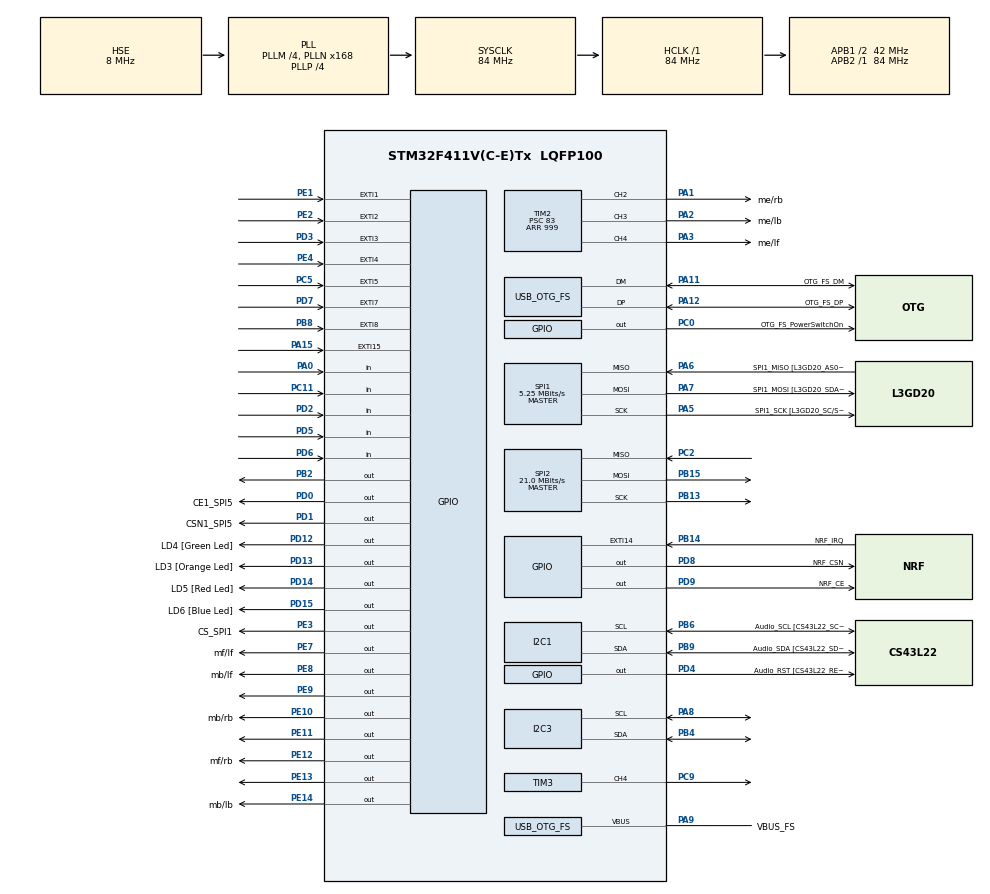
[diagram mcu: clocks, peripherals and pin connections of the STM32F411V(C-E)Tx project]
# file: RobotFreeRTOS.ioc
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FREERTOS.Tasks01=CalculatePoz,23,128,StartCalculatingPoz,Default,NULL,Dynamic,NULL,NULL;ReciveCommandsN,8,128,StartRecivingCommandsNRF24,Default,NULL,Dynamic,NULL,NULL;MotorControl,8,128,StartMotorControl,Default,NULL,Dynamic,NULL,NULL;calculatePath,22,128,StartCalculatingPath,Default,NULL,Dynamic,NULL,NULL
FREERTOS.configUSE_NEWLIB_REENTRANT=0
I2C1.I2C_Mode=I2C_Fast
Mcu.Family=STM32F4
Mcu.Name=STM32F411V(C-E)Tx
Mcu.Package=LQFP100
NVIC.EXTI15_10_IRQn=true\:5\:0\:false\:false\:true\:true\:true\:true
NVIC.EXTI1_IRQn=true\:5\:0\:false\:false\:true\:true\:true\:true
NVIC.EXTI2_IRQn=true\:5\:0\:false\:false\:true\:true\:true\:true
NVIC.EXTI3_IRQn=true\:5\:0\:false\:false\:true\:true\:true\:true
NVIC.EXTI4_IRQn=true\:5\:0\:false\:false\:true\:true\:true\:true
NVIC.EXTI9_5_IRQn=true\:5\:0\:false\:false\:true\:true\:true\:true
NVIC.I2C3_EV_IRQn=true\:5\:0\:false\:false\:true\:true\:true\:true
NVIC.OTG_FS_IRQn=true\:5\:0\:false\:false\:true\:true\:false\:true
NVIC.PriorityGroup=NVIC_PRIORITYGROUP_4
NVIC.TIM1_TRG_COM_TIM11_IRQn=true\:15\:0\:false\:false\:true\:false\:false\:true
NVIC.TIM2_IRQn=true\:5\:0\:false\:false\:true\:true\:true\:true
NVIC.TimeBase=TIM1_TRG_COM_TIM11_IRQn
NVIC.TimeBaseIP=TIM11
PA0-WKUP.Signal=GPIO_Input
PA1.GPIO_Label=me/rb
PA1.Signal=S_TIM2_CH2
PA10.Signal=USB_OTG_FS_ID
PA11.GPIO_Label=OTG_FS_DM
PA11.Mode=Device_Only
PA11.Signal=USB_OTG_FS_DM
PA12.GPIO_Label=OTG_FS_DP
PA12.Mode=Device_Only
PA12.Signal=USB_OTG_FS_DP
PA13.GPIO_Label=SWDIO
PA13.Mode=Serial_Wire
PA13.Signal=SYS_JTMS-SWDIO
PA14.GPIO_Label=SWCLK
PA14.Mode=Serial_Wire
PA14.Signal=SYS_JTCK-SWCLK
PA15.Signal=GPXTI15
PA2.GPIO_Label=me/lb
PA2.Signal=S_TIM2_CH3
PA3.GPIO_Label=me/lf
PA3.Signal=S_TIM2_CH4
PA4.GPIO_Label=I2S3_WS [CS43L22_LRCK]
PA4.GPIO_Mode=GPIO_MODE_AF_PP
PA4.GPIO_PuPd=GPIO_NOPULL
PA4.GPIO_Speed=GPIO_SPEED_FREQ_LOW
PA4.Signal=I2S3_WS
PA5.GPIO_Label=SPI1_SCK [L3GD20_SC/SPC]
PA5.Mode=Full_Duplex_Master
PA5.Signal=SPI1_SCK
PA6.GPIO_Label=SPI1_MISO [L3GD20_AS0/SDO]
PA6.Mode=Full_Duplex_Master
PA6.Signal=SPI1_MISO
PA7.GPIO_Label=SPI1_MOSI [L3GD20_SDA/SDI/SDO]
PA7.Mode=Full_Duplex_Master
PA7.Signal=SPI1_MOSI
PA8.Mode=I2C
PA8.Signal=I2C3_SCL
PA9.GPIO_Label=VBUS_FS
PA9.Mode=Activate_VBUS
PA9.Signal=USB_OTG_FS_VBUS
PB10.GPIO_Label=CLK_IN [MP45DT02_CLK]
PB10.Signal=I2S2_CK
PB12.Signal=I2S2_WS
PB13.Mode=Full_Duplex_Master
PB13.Signal=SPI2_SCK
PB14.GPIO_Label=NRF_IRQ
PB14.GPIO_ModeDefaultEXTI=GPIO_MODE_IT_FALLING
PB14.Signal=GPXTI14
PB15.Mode=Full_Duplex_Master
PB15.Signal=SPI2_MOSI
PB2.Signal=GPIO_Output
PB3.GPIO_Label=SWO
PB3.Signal=SYS_JTDO-SWO
PB4.Mode=I2C
PB4.Signal=I2C3_SDA
PB6.GPIO_Label=Audio_SCL [CS43L22_SCL]
PB6.GPIO_Mode=GPIO_MODE_AF_OD
PB6.GPIO_Pu=GPIO_PULLUP
PB6.GPIO_PuPd=GPIO_NOPULL
PB6.GPIO_Speed=GPIO_SPEED_FREQ_LOW
PB6.Mode=I2C
PB6.Signal=I2C1_SCL
PB8.Signal=GPXTI8
PB9.GPIO_Label=Audio_SDA [CS43L22_SDA]
PB9.GPIO_Mode=GPIO_MODE_AF_OD
PB9.GPIO_Pu=GPIO_PULLUP
PB9.GPIO_PuPd=GPIO_NOPULL
PB9.GPIO_Speed=GPIO_SPEED_FREQ_LOW
PB9.Mode=I2C
PB9.Signal=I2C1_SDA
PC0.GPIO_Label=OTG_FS_PowerSwitchOn
PC0.PinState=GPIO_PIN_SET
PC0.Signal=GPIO_Output
PC10.GPIO_Label=I2S3_SCK [CS43L22_SCLK]
PC10.GPIO_Mode=GPIO_MODE_AF_PP
PC10.GPIO_PuPd=GPIO_NOPULL
PC10.GPIO_Speed=GPIO_SPEED_FREQ_LOW
PC10.Signal=I2S3_CK
PC11.Signal=GPIO_Input
PC12.GPIO_Label=I2S3_SD [CS43L22_SDIN]
PC12.GPIO_Mode=GPIO_MODE_AF_PP
PC12.GPIO_PuPd=GPIO_NOPULL
PC12.GPIO_Speed=GPIO_SPEED_FREQ_LOW
PC12.Signal=I2S3_SD
PC14-OSC32_IN.GPIO_Label=PC14-OSC32_IN
PC14-OSC32_IN.Signal=RCC_OSC32_IN
PC15-OSC32_OUT.GPIO_Label=PC15-OSC32_OUT
PC15-OSC32_OUT.Signal=RCC_OSC32_OUT
PC2.Mode=Full_Duplex_Master
PC2.Signal=SPI2_MISO
PC3.GPIO_Label=PDM_OUT [MP45DT02_DOUT]
PC3.Signal=I2S2_SD
PC5.GPIO_ModeDefaultEXTI=GPIO_MODE_IT_FALLING
PC5.Signal=GPXTI5
PC7.GPIO_Label=I2S3_MCK [CS43L22_MCLK]
PC7.GPIO_Mode=GPIO_MODE_AF_PP
PC7.GPIO_PuPd=GPIO_NOPULL
PC7.GPIO_Speed=GPIO_SPEED_FREQ_LOW
PC7.Signal=I2S3_MCK
PC9.Signal=S_TIM3_CH4
PD0.GPIO_Label=CE1_SPI5
PD0.Signal=GPIO_Output
PD1.GPIO_Label=CSN1_SPI5
PD1.Signal=GPIO_Output
PD12.GPIO_Label=LD4 [Green Led]
PD12.GPIO_PuPd=GPIO_NOPULL
PD12.GPIO_Speed=GPIO_SPEED_FREQ_LOW
PD12.Signal=GPIO_Output
PD13.GPIO_Label=LD3 [Orange Led]
PD13.GPIO_PuPd=GPIO_NOPULL
PD13.GPIO_Speed=GPIO_SPEED_FREQ_LOW
PD13.Signal=GPIO_Output
PD14.GPIO_Label=LD5 [Red Led]
PD14.GPIO_PuPd=GPIO_NOPULL
PD14.GPIO_Speed=GPIO_SPEED_FREQ_LOW
PD14.Signal=GPIO_Output
PD15.GPIO_Label=LD6 [Blue Led]
PD15.GPIO_PuPd=GPIO_NOPULL
PD15.GPIO_Speed=GPIO_SPEED_FREQ_LOW
PD15.Signal=GPIO_Output
PD2.Signal=GPIO_Input
PD3.Signal=GPXTI3
PD4.GPIO_Label=Audio_RST [CS43L22_RESET]
PD4.Signal=GPIO_Output
PD5.Signal=GPIO_Input
PD6.Signal=GPIO_Input
PD7.Signal=GPXTI7
PD8.GPIO_Label=NRF_CSN
PD8.Signal=GPIO_Output
PD9.GPIO_Label=NRF_CE
PD9.Signal=GPIO_Output
PE1.Signal=GPXTI1
PE10.GPIO_Label=mb/rb
PE10.Signal=GPIO_Output
PE11.Signal=GPIO_Output
PE12.GPIO_Label=mf/rb
PE12.Signal=GPIO_Output
PE13.Signal=GPIO_Output
PE14.GPIO_Label=mb/lb
PE14.Signal=GPIO_Output
PE2.Signal=GPXTI2
PE3.GPIO_Label=CS_SPI1
PE3.GPIO_Speed=GPIO_SPEED_FREQ_HIGH
PE3.Signal=GPIO_Output
PE4.Signal=GPXTI4
PE7.GPIO_Label=mf/lf
PE7.Signal=GPIO_Output
PE8.GPIO_Label=mb/lf
PE8.Signal=GPIO_Output
PE9.Signal=GPIO_Output
PH0\ -\ OSC_IN.GPIO_Label=PH0-OSC_IN
PH0\ -\ OSC_IN.Mode=HSE-External-Oscillator
PH0\ -\ OSC_IN.Signal=RCC_OSC_IN
PH1\ -\ OSC_OUT.GPIO_Label=PH1-OSC_OUT
PH1\ -\ OSC_OUT.Mode=HSE-External-Oscillator
PH1\ -\ OSC_OUT.Signal=RCC_OSC_OUT
ProjectManager.HeapSize=0x200
ProjectManager.StackSize=0x400
ProjectManager.TargetToolchain=STM32CubeIDE
RCC.48MHZClocksFreq_Value=48000000
RCC.AHBFreq_Value=84000000
RCC.APB1CLKDivider=RCC_HCLK_DIV2
RCC.APB1Freq_Value=42000000
RCC.APB1TimFreq_Value=84000000
RCC.APB2Freq_Value=84000000
RCC.APB2TimFreq_Value=84000000
RCC.CortexFreq_Value=84000000
RCC.HCLKFreq_Value=84000000
RCC.HSE_VALUE=8000000
RCC.HSI_VALUE=16000000
RCC.LSE_VALUE=32768
RCC.PLLI2SM=5
RCC.PLLI2SN=200
RCC.PLLM=4
RCC.PLLN=168
RCC.PLLP=RCC_PLLP_DIV4
RCC.PLLQ=7
RCC.SYSCLKFreq_VALUE=84000000
RCC.SYSCLKSource=RCC_SYSCLKSOURCE_PLLCLK
RCC.VCOOutputFreq_Value=336000000
SH.S_TIM2_CH2.0=TIM2_CH2,PWM Generation2 CH2
SH.S_TIM2_CH3.0=TIM2_CH3,PWM Generation3 CH3
SH.S_TIM2_CH4.0=TIM2_CH4,PWM Generation4 CH4
SH.S_TIM3_CH4.0=TIM3_CH4,PWM Generation4 CH4
SPI1.BaudRatePrescaler=SPI_BAUDRATEPRESCALER_16
SPI1.CLKPhase=SPI_PHASE_2EDGE
SPI1.CalculateBaudRate=5.25 MBits/s
SPI1.Direction=SPI_DIRECTION_2LINES
SPI1.Mode=SPI_MODE_MASTER
SPI1.VirtualType=VM_MASTER
SPI2.CalculateBaudRate=21.0 MBits/s
SPI2.Direction=SPI_DIRECTION_2LINES
SPI2.Mode=SPI_MODE_MASTER
SPI2.VirtualType=VM_MASTER
TIM2.Channel-PWM\ Generation2\ CH2=TIM_CHANNEL_2
TIM2.Channel-PWM\ Generation3\ CH3=TIM_CHANNEL_3
TIM2.Channel-PWM\ Generation4\ CH4=TIM_CHANNEL_4
TIM2.Period=999
TIM2.Prescaler=83
TIM3.Channel-PWM\ Generation4\ CH4=TIM_CHANNEL_4
TIM3.Period=999
TIM3.Prescaler=84
TIM5.Prescaler=83
USB_DEVICE.CLASS_NAME_FS=CDC
USB_DEVICE.PRODUCT_STRING_CDC_FS=STM32roboRacer
USB_DEVICE.VirtualMode=Cdc
USB_DEVICE.VirtualModeFS=Cdc_FS
USB_OTG_FS.VirtualMode=Device_Only
VP_FREERTOS_VS_CMSIS_V2.Mode=CMSIS_V2
VP_SYS_VS_tim11.Mode=TIM11
VP_TIM2_VS_ClockSourceINT.Mode=Internal
VP_TIM3_VS_ClockSourceINT.Mode=Internal
VP_TIM5_VS_ClockSourceINT.Mode=Internal
VP_USB_DEVICE_VS_USB_DEVICE_CDC_FS.Mode=CDC_FS
board=STM32F411E-DISCO

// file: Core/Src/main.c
/* USER CODE BEGIN Header */
/**
  ******************************************************************************
  * @file           : main.c
  * @brief          : Main program body
  ******************************************************************************
  * @attention
  *
  * <h2><center>&copy; Copyright (c) 2021 STMicroelectronics.
  * All rights reserved.</center></h2>
  *
  * This software component is licensed by ST under BSD 3-Clause license,
  * the "License"; You may not use this file except in compliance with the
  * License. You may obtain a copy of the License at:
  *                        opensource.org/licenses/BSD-3-Clause
  *
  ******************************************************************************
  */
/* USER CODE END Header */
#include "main.h"
#include "cmsis_os.h"
#include "usb_device.h"
#include "usb_device.h"

/* USER CODE BEGIN Includes */
#include "stdint.h"
#include "robotPeriferija.h"
#include "nrf24.h"
#include "math.h"
#include "MadgwickAHRS.h"
#include "usbd_cdc_if.h"
/* USER CODE END Includes */

/* USER CODE BEGIN PTD */

void HAL_GPIO_EXTI_Callback(uint16_t GPIO_Pin); //external interupti
//void HAL_SPI_RxCpltCallback(SPI_HandleTypeDef *hspi);
//void HAL_SPI_TxCpltCallback(SPI_HandleTypeDef *hspi);
//void HAL_SPI_TxRxCpltCallback(SPI_HandleTypeDef *hspi);
void HAL_I2C_SlaveRxCpltCallback(I2C_HandleTypeDef *hi2c);
//void HAL_I2C_MasterTxCpltCallback(I2C_HandleTypeDef *hi2c)
/* USER CODE END PTD */

/* USER CODE BEGIN PD */
#define PID_CONTROL 1
#define PID_P 0.8f
#define PID_P_LIMIT 1.0f
#define PID_I 0.02f
#define PID_I_LIMIT 50.0f
#define PID_D 0.1f
#define PID_LIMIT 1.0f
#define SPEEDMOD 1.0f

#define PI 3.14159265358979323846f
#define DEG_TO_RAD 0.01745329252f

#define I2C_BUFFER_SIZE 100
/* USER CODE END PD */

/* USER CODE BEGIN PM */
#define scalePwm(p) ((int16_t)(p*1000))

/* USER CODE END PM */

I2C_HandleTypeDef hi2c1;
I2C_HandleTypeDef hi2c3;

SPI_HandleTypeDef hspi1;
SPI_HandleTypeDef hspi2;

TIM_HandleTypeDef htim2;
TIM_HandleTypeDef htim3;
TIM_HandleTypeDef htim5;

/* Definitions for CalculatePoz */
osThreadId_t CalculatePozHandle;
const osThreadAttr_t CalculatePoz_attributes = {
  .name = "CalculatePoz",
  .stack_size = 128 * 4,
  .priority = (osPriority_t) osPriorityBelowNormal7,
};
/* Definitions for ReciveCommandsN */
osThreadId_t ReciveCommandsNHandle;
const osThreadAttr_t ReciveCommandsN_attributes = {
  .name = "ReciveCommandsN",
  .stack_size = 128 * 4,
  .priority = (osPriority_t) osPriorityLow,
};
/* Definitions for MotorControl */
osThreadId_t MotorControlHandle;
const osThreadAttr_t MotorControl_attributes = {
  .name = "MotorControl",
  .stack_size = 128 * 4,
  .priority = (osPriority_t) osPriorityLow,
};
/* Definitions for calculatePath */
osThreadId_t calculatePathHandle;
const osThreadAttr_t calculatePath_attributes = {
  .name = "calculatePath",
  .stack_size = 128 * 4,
  .priority = (osPriority_t) osPriorityBelowNormal6,
};
/* USER CODE BEGIN PV */
nRF24_RXResult pipe;
volatile uint8_t nRF24_dataReady = 0;
volatile uint8_t nRF24_status = 0;
volatile int payload_length = 6;

volatile uint8_t GyroReady = 0;
volatile uint8_t AccReady = 0;
volatile uint8_t MagReady = 0;
volatile uint8_t sendData = 0;

volatile float Xold = 0.0f;
volatile float Yold = 0.0f;

volatile int32_t motorRFprevPoz=0;
volatile int32_t motorLFprevPoz=0;
volatile int32_t motorRBprevPoz=0;
volatile int32_t motorLBprevPoz=0;

volatile uint8_t I2CTxData[I2C_BUFFER_SIZE];
volatile uint8_t I2CRxData[I2C_BUFFER_SIZE];

volatile uint32_t timeSinceLastCommand = 0;
volatile uint8_t activateRasbetyPI = 0;

/* USER CODE END PV */

void SystemClock_Config(void);
static void MX_GPIO_Init(void);
static void MX_I2C1_Init(void);
static void MX_SPI1_Init(void);
static void MX_TIM2_Init(void);
static void MX_SPI2_Init(void);
static void MX_TIM5_Init(void);
static void MX_TIM3_Init(void);
static void MX_I2C3_Init(void);
void StartCalculatingPoz(void *argument);
void StartRecivingCommandsNRF24(void *argument);
void StartMotorControl(void *argument);
void StartCalculatingPath(void *argument);

/* USER CODE BEGIN 0 */
void nRF24SetChip(){
	nRF24_Init();

	nRF24_DisableAA(0xFF);
	nRF24_SetRFChannel(115);
	nRF24_SetDataRate(nRF24_DR_1Mbps);
	nRF24_SetCRCScheme(nRF24_CRC_off);
	nRF24_SetAddrWidth(3);

	static const uint8_t nRF24_ADDR[] = { 0xE7, 0x1C, 0xE3 };
	nRF24_SetAddr(nRF24_PIPE1, nRF24_ADDR); // program address for RX pipe #1
	nRF24_SetRXPipe(nRF24_PIPE1, nRF24_AA_OFF, payload_length); // Auto-ACK: disabled, payload length: 5 bytes
	nRF24_SetOperationalMode(nRF24_MODE_RX);
	nRF24_SetPowerMode(nRF24_PWR_UP);
	nRF24_CE_H();
}

void inicilizirajCipe(){
	__HAL_I2C_ENABLE(&hi2c1); //omogocimo I2C1 za komunikacijo z vgrajenimi cipi
	__HAL_SPI_ENABLE(&hspi1); //komunikacija gyro
	__HAL_SPI_ENABLE(&hspi2); //komunikacija z nRF24
	HAL_Delay(50);
	nRF24SetChip();
	nastaviPospeskometer();
	nastaviMagnetometer();
	nastaviGiroskop();
	//prvic preberi podatke da se generirajo interupti
	spi1_beriRegistre(0x28, (uint8_t*)&Gyro, 6);
	i2c1_beriRegistre(0x19, 0x28,(uint8_t*)&Acc, 6);
	i2c1_beriRegistre(0x1e, 0x68,(uint8_t*)&Mag, 6);
}

void normalize_v3f(float* x, float* y, float* z){
	float norm = sqrt( (*x) * (*x) + (*y) * (*y) + (*z) * (*z) );
	*x /= norm;
	*y /= norm;
	*z /= norm;
}

void speedControl(struct motorData* m, float deltaT){
	//premakni motor z zeljeno hitrostjo
	//izracunaj hitrost z tekocim povprecjem
	float vel = (float)((m->poz - m->prevPoz)/deltaT)/1000;
	m->prevPoz = m->poz;
	m->sum =  m->sum + vel - m->vals[m->index]; //pristejemo trenutno vrednost in odstejemo zadnjo
	m->vals[m->index] = vel; //na zadnjo zamenjamo z novo
	m->index++;
	if(m->index > 9){m->index = 0;}
	vel = m->sum/10; //izracunamo povprecje

	if(m->targetVel < 0.05 && m->targetVel > -0.05){
		m->targetVel = 0;
		m->integralError = 0;
	}

	if(PID_CONTROL == 1){
		m->error = (m->targetVel) - vel;
		if(m->error > PID_P_LIMIT){m->error=PID_P_LIMIT;}
		if(m->error < -PID_P_LIMIT){m->error=-PID_P_LIMIT;}

		m->integralError = m->integralError + m->error;
		if(m->integralError > PID_I_LIMIT){m->integralError = PID_I_LIMIT;}
		if(m->integralError < -PID_I_LIMIT){m->integralError = -PID_I_LIMIT;}

		float deltaE = 0.0f;
		if((m->error - m->prevError)>0.01f && (m->error - m->prevError)<-0.01f){deltaE=((m->error - m->prevError)/deltaT);}
		m->prevError = m->error;

		float power = PID_P*m->error + PID_I*m->integralError + PID_D*deltaE;
		if(power > PID_LIMIT){power = PID_LIMIT;}
		if(power < -PID_LIMIT){power = -PID_LIMIT;}
		nastaviMotor(m->num,zgladiMotor(m->num,scalePwm(power)));
	}
	else{
		int Pwm = zgladiMotor(m->num,scalePwm(m->targetVel));
		nastaviMotor(m->num,Pwm);
	}
}
/* USER CODE END 0 */

int main(void)
{

  /* MCU Configuration--------------------------------------------------------*/

  /* Reset of all peripherals, Initializes the Flash interface and the Systick. */
  HAL_Init();

  /* Configure the system clock */
  SystemClock_Config();

  /* Initialize all configured peripherals */
  MX_GPIO_Init();
  MX_I2C1_Init();
  MX_SPI1_Init();
  MX_TIM2_Init();
  MX_SPI2_Init();
  MX_TIM5_Init();
  MX_TIM3_Init();
  MX_I2C3_Init();
  /* USER CODE BEGIN 2 */
  //!--ce generator kode inicilizira DMA zadnje pomakni funkcijo visje da se incilizira prvo

  //iniciliziraj komunikacijo in senzorje
  HAL_Delay(100);
  inicilizirajCipe();
  nRF24_status = nRF24_Check();
  HAL_GPIO_WritePin(GPIOD, GPIO_PIN_12,nRF24_status); //ce dela prizgi ledico

  B1.flags = 0;
  B1.presedConf = 0;
  B1.relesedConf = 0;
  B1.port = GPIOA;
  B1.pin = GPIO_PIN_0;
  B1.debaunceCycles = 10;
  B1.presses = 0;

  HAL_TIM_Base_Start(&htim2);
  HAL_TIM_Base_Start(&htim3);
  HAL_TIM_Base_Start(&htim5);
  // zazenemo PWM
  HAL_TIM_PWM_Start(&htim3, TIM_CHANNEL_4);
  HAL_TIM_PWM_Start(&htim2, TIM_CHANNEL_2);
  HAL_TIM_PWM_Start(&htim2, TIM_CHANNEL_3);
  HAL_TIM_PWM_Start(&htim2, TIM_CHANNEL_4);

  robotPay.x1 = 0; //nastavimo na srednje vrednosti
  robotPay.x2 = 0;
  robotPay.y1 = 0;
  robotPay.y2 = 0;
  robotPay.speed = 100;

  nastaviMotor(RF,0);
  nastaviMotor(LF,0);
  nastaviMotor(LB,0);
  nastaviMotor(RB,0);

  motorLF.num = LF;
  motorLB.num = LB;
  motorRB.num = RB;
  motorRF.num = RF;

  E.Accx = 0;
  E.Accy = 0;
  E.Accz = 0;
  E.Gyrox = 0;
  E.Gyroy = 0;
  E.Gyroz = 0;
  E.HardIronMagx = 0;
  E.HardIronMagy = 0;
  E.HardIronMagz = 0;
  E.SoftIronMagx = 1;
  E.SoftIronMagy = 1;
  E.SoftIronMagz = 1;

  P.pozX = 0;
  P.pozY = 0;

  getDrift();

  __HAL_I2C_ENABLE(&hi2c3);
  HAL_Delay(100);
  activateRasbetyPI = 1;

  //HAL_SPI_Receive_DMA(&hspi5, (uint8_t*)&rasberyReq, rasberyReqSize);
  //HAL_SPI_TransmitReceive_DMA(&hspi5, SpiTxData, SpiRxData, SPI_BUFFER_SIZE);
  //HAL_SPI_TransmitReceive_DMA(&hspi5, SpiTxData, SpiRxData, 2); //beremo po dva
  /* USER CODE END 2 */

  /* Init scheduler */
  osKernelInitialize();

  /* Create the thread(s) */
  /* creation of CalculatePoz */
  CalculatePozHandle = osThreadNew(StartCalculatingPoz, NULL, &CalculatePoz_attributes);

  /* creation of ReciveCommandsN */
  ReciveCommandsNHandle = osThreadNew(StartRecivingCommandsNRF24, NULL, &ReciveCommandsN_attributes);

  /* creation of MotorControl */
  MotorControlHandle = osThreadNew(StartMotorControl, NULL, &MotorControl_attributes);

  /* creation of calculatePath */
  calculatePathHandle = osThreadNew(StartCalculatingPath, NULL, &calculatePath_attributes);

  /* Start scheduler */
  osKernelStart();

  /* We should never get here as control is now taken by the scheduler */
  /* Infinite loop */
  while (1)
  {

  }
}

void SystemClock_Config(void)
{
  RCC_OscInitTypeDef RCC_OscInitStruct = {0};
  RCC_ClkInitTypeDef RCC_ClkInitStruct = {0};

  /** Configure the main internal regulator output voltage
  */
  __HAL_RCC_PWR_CLK_ENABLE();
  __HAL_PWR_VOLTAGESCALING_CONFIG(PWR_REGULATOR_VOLTAGE_SCALE1);
  /** Initializes the RCC Oscillators according to the specified parameters
  * in the RCC_OscInitTypeDef structure.
  */
  RCC_OscInitStruct.OscillatorType = RCC_OSCILLATORTYPE_HSE;
  RCC_OscInitStruct.HSEState = RCC_HSE_ON;
  RCC_OscInitStruct.PLL.PLLState = RCC_PLL_ON;
  RCC_OscInitStruct.PLL.PLLSource = RCC_PLLSOURCE_HSE;
  RCC_OscInitStruct.PLL.PLLM = 4;
  RCC_OscInitStruct.PLL.PLLN = 168;
  RCC_OscInitStruct.PLL.PLLP = RCC_PLLP_DIV4;
  RCC_OscInitStruct.PLL.PLLQ = 7;
  if (HAL_RCC_OscConfig(&RCC_OscInitStruct) != HAL_OK)
  {
    Error_Handler();
  }
  /** Initializes the CPU, AHB and APB buses clocks
  */
  RCC_ClkInitStruct.ClockType = RCC_CLOCKTYPE_HCLK|RCC_CLOCKTYPE_SYSCLK
                              |RCC_CLOCKTYPE_PCLK1|RCC_CLOCKTYPE_PCLK2;
  RCC_ClkInitStruct.SYSCLKSource = RCC_SYSCLKSOURCE_PLLCLK;
  RCC_ClkInitStruct.AHBCLKDivider = RCC_SYSCLK_DIV1;
  RCC_ClkInitStruct.APB1CLKDivider = RCC_HCLK_DIV2;
  RCC_ClkInitStruct.APB2CLKDivider = RCC_HCLK_DIV1;

  if (HAL_RCC_ClockConfig(&RCC_ClkInitStruct, FLASH_LATENCY_2) != HAL_OK)
  {
    Error_Handler();
  }
}

static void MX_I2C1_Init(void)
{

  hi2c1.Instance = I2C1;
  hi2c1.Init.ClockSpeed = 400000;
  hi2c1.Init.DutyCycle = I2C_DUTYCYCLE_2;
  hi2c1.Init.OwnAddress1 = 0;
  hi2c1.Init.AddressingMode = I2C_ADDRESSINGMODE_7BIT;
  hi2c1.Init.DualAddressMode = I2C_DUALADDRESS_DISABLE;
  hi2c1.Init.OwnAddress2 = 0;
  hi2c1.Init.GeneralCallMode = I2C_GENERALCALL_DISABLE;
  hi2c1.Init.NoStretchMode = I2C_NOSTRETCH_DISABLE;
  if (HAL_I2C_Init(&hi2c1) != HAL_OK)
  {
    Error_Handler();
  }

}

static void MX_I2C3_Init(void)
{

  hi2c3.Instance = I2C3;
  hi2c3.Init.ClockSpeed = 100000;
  hi2c3.Init.DutyCycle = I2C_DUTYCYCLE_2;
  hi2c3.Init.OwnAddress1 = 0;
  hi2c3.Init.AddressingMode = I2C_ADDRESSINGMODE_7BIT;
  hi2c3.Init.DualAddressMode = I2C_DUALADDRESS_DISABLE;
  hi2c3.Init.OwnAddress2 = 0;
  hi2c3.Init.GeneralCallMode = I2C_GENERALCALL_DISABLE;
  hi2c3.Init.NoStretchMode = I2C_NOSTRETCH_DISABLE;
  if (HAL_I2C_Init(&hi2c3) != HAL_OK)
  {
    Error_Handler();
  }

}

static void MX_SPI1_Init(void)
{

  /* SPI1 parameter configuration*/
  hspi1.Instance = SPI1;
  hspi1.Init.Mode = SPI_MODE_MASTER;
  hspi1.Init.Direction = SPI_DIRECTION_2LINES;
  hspi1.Init.DataSize = SPI_DATASIZE_8BIT;
  hspi1.Init.CLKPolarity = SPI_POLARITY_LOW;
  hspi1.Init.CLKPhase = SPI_PHASE_2EDGE;
  hspi1.Init.NSS = SPI_NSS_SOFT;
  hspi1.Init.BaudRatePrescaler = SPI_BAUDRATEPRESCALER_16;
  hspi1.Init.FirstBit = SPI_FIRSTBIT_MSB;
  hspi1.Init.TIMode = SPI_TIMODE_DISABLE;
  hspi1.Init.CRCCalculation = SPI_CRCCALCULATION_DISABLE;
  hspi1.Init.CRCPolynomial = 10;
  if (HAL_SPI_Init(&hspi1) != HAL_OK)
  {
    Error_Handler();
  }

}

static void MX_SPI2_Init(void)
{

  /* SPI2 parameter configuration*/
  hspi2.Instance = SPI2;
  hspi2.Init.Mode = SPI_MODE_MASTER;
  hspi2.Init.Direction = SPI_DIRECTION_2LINES;
  hspi2.Init.DataSize = SPI_DATASIZE_8BIT;
  hspi2.Init.CLKPolarity = SPI_POLARITY_LOW;
  hspi2.Init.CLKPhase = SPI_PHASE_1EDGE;
  hspi2.Init.NSS = SPI_NSS_SOFT;
  hspi2.Init.BaudRatePrescaler = SPI_BAUDRATEPRESCALER_2;
  hspi2.Init.FirstBit = SPI_FIRSTBIT_MSB;
  hspi2.Init.TIMode = SPI_TIMODE_DISABLE;
  hspi2.Init.CRCCalculation = SPI_CRCCALCULATION_DISABLE;
  hspi2.Init.CRCPolynomial = 10;
  if (HAL_SPI_Init(&hspi2) != HAL_OK)
  {
    Error_Handler();
  }

}

static void MX_TIM2_Init(void)
{

  TIM_ClockConfigTypeDef sClockSourceConfig = {0};
  TIM_MasterConfigTypeDef sMasterConfig = {0};
  TIM_OC_InitTypeDef sConfigOC = {0};

  htim2.Instance = TIM2;
  htim2.Init.Prescaler = 83;
  htim2.Init.CounterMode = TIM_COUNTERMODE_UP;
  htim2.Init.Period = 999;
  htim2.Init.ClockDivision = TIM_CLOCKDIVISION_DIV1;
  htim2.Init.AutoReloadPreload = TIM_AUTORELOAD_PRELOAD_DISABLE;
  if (HAL_TIM_Base_Init(&htim2) != HAL_OK)
  {
    Error_Handler();
  }
  sClockSourceConfig.ClockSource = TIM_CLOCKSOURCE_INTERNAL;
  if (HAL_TIM_ConfigClockSource(&htim2, &sClockSourceConfig) != HAL_OK)
  {
    Error_Handler();
  }
  if (HAL_TIM_PWM_Init(&htim2) != HAL_OK)
  {
    Error_Handler();
  }
  sMasterConfig.MasterOutputTrigger = TIM_TRGO_RESET;
  sMasterConfig.MasterSlaveMode = TIM_MASTERSLAVEMODE_DISABLE;
  if (HAL_TIMEx_MasterConfigSynchronization(&htim2, &sMasterConfig) != HAL_OK)
  {
    Error_Handler();
  }
  sConfigOC.OCMode = TIM_OCMODE_PWM1;
  sConfigOC.Pulse = 0;
  sConfigOC.OCPolarity = TIM_OCPOLARITY_HIGH;
  sConfigOC.OCFastMode = TIM_OCFAST_DISABLE;
  if (HAL_TIM_PWM_ConfigChannel(&htim2, &sConfigOC, TIM_CHANNEL_2) != HAL_OK)
  {
    Error_Handler();
  }
  if (HAL_TIM_PWM_ConfigChannel(&htim2, &sConfigOC, TIM_CHANNEL_3) != HAL_OK)
  {
    Error_Handler();
  }
  if (HAL_TIM_PWM_ConfigChannel(&htim2, &sConfigOC, TIM_CHANNEL_4) != HAL_OK)
  {
    Error_Handler();
  }
  HAL_TIM_MspPostInit(&htim2);

}

static void MX_TIM3_Init(void)
{

  TIM_ClockConfigTypeDef sClockSourceConfig = {0};
  TIM_MasterConfigTypeDef sMasterConfig = {0};
  TIM_OC_InitTypeDef sConfigOC = {0};

  htim3.Instance = TIM3;
  htim3.Init.Prescaler = 84;
  htim3.Init.CounterMode = TIM_COUNTERMODE_UP;
  htim3.Init.Period = 999;
  htim3.Init.ClockDivision = TIM_CLOCKDIVISION_DIV1;
  htim3.Init.AutoReloadPreload = TIM_AUTORELOAD_PRELOAD_DISABLE;
  if (HAL_TIM_Base_Init(&htim3) != HAL_OK)
  {
    Error_Handler();
  }
  sClockSourceConfig.ClockSource = TIM_CLOCKSOURCE_INTERNAL;
  if (HAL_TIM_ConfigClockSource(&htim3, &sClockSourceConfig) != HAL_OK)
  {
    Error_Handler();
  }
  if (HAL_TIM_PWM_Init(&htim3) != HAL_OK)
  {
    Error_Handler();
  }
  sMasterConfig.MasterOutputTrigger = TIM_TRGO_RESET;
  sMasterConfig.MasterSlaveMode = TIM_MASTERSLAVEMODE_DISABLE;
  if (HAL_TIMEx_MasterConfigSynchronization(&htim3, &sMasterConfig) != HAL_OK)
  {
    Error_Handler();
  }
  sConfigOC.OCMode = TIM_OCMODE_PWM1;
  sConfigOC.Pulse = 0;
  sConfigOC.OCPolarity = TIM_OCPOLARITY_HIGH;
  sConfigOC.OCFastMode = TIM_OCFAST_DISABLE;
  if (HAL_TIM_PWM_ConfigChannel(&htim3, &sConfigOC, TIM_CHANNEL_4) != HAL_OK)
  {
    Error_Handler();
  }
  HAL_TIM_MspPostInit(&htim3);

}

static void MX_TIM5_Init(void)
{

  TIM_ClockConfigTypeDef sClockSourceConfig = {0};
  TIM_MasterConfigTypeDef sMasterConfig = {0};

  htim5.Instance = TIM5;
  htim5.Init.Prescaler = 83;
  htim5.Init.CounterMode = TIM_COUNTERMODE_UP;
  htim5.Init.Period = 4294967295;
  htim5.Init.ClockDivision = TIM_CLOCKDIVISION_DIV1;
  htim5.Init.AutoReloadPreload = TIM_AUTORELOAD_PRELOAD_DISABLE;
  if (HAL_TIM_Base_Init(&htim5) != HAL_OK)
  {
    Error_Handler();
  }
  sClockSourceConfig.ClockSource = TIM_CLOCKSOURCE_INTERNAL;
  if (HAL_TIM_ConfigClockSource(&htim5, &sClockSourceConfig) != HAL_OK)
  {
    Error_Handler();
  }
  sMasterConfig.MasterOutputTrigger = TIM_TRGO_RESET;
  sMasterConfig.MasterSlaveMode = TIM_MASTERSLAVEMODE_DISABLE;
  if (HAL_TIMEx_MasterConfigSynchronization(&htim5, &sMasterConfig) != HAL_OK)
  {
    Error_Handler();
  }

}

static void MX_GPIO_Init(void)
{
  GPIO_InitTypeDef GPIO_InitStruct = {0};

  /* GPIO Ports Clock Enable */
  __HAL_RCC_GPIOE_CLK_ENABLE();
  __HAL_RCC_GPIOC_CLK_ENABLE();
  __HAL_RCC_GPIOH_CLK_ENABLE();
  __HAL_RCC_GPIOA_CLK_ENABLE();
  __HAL_RCC_GPIOB_CLK_ENABLE();
  __HAL_RCC_GPIOD_CLK_ENABLE();

  /*Configure GPIO pin Output Level */
  HAL_GPIO_WritePin(GPIOE, CS_SPI1_Pin|mf_lf_Pin|mb_lf_Pin|GPIO_PIN_9
                          |mb_rb_Pin|GPIO_PIN_11|mf_rb_Pin|GPIO_PIN_13
                          |mb_lb_Pin, GPIO_PIN_RESET);

  /*Configure GPIO pin Output Level */
  HAL_GPIO_WritePin(OTG_FS_PowerSwitchOn_GPIO_Port, OTG_FS_PowerSwitchOn_Pin, GPIO_PIN_SET);

  /*Configure GPIO pin Output Level */
  HAL_GPIO_WritePin(GPIOB, GPIO_PIN_2, GPIO_PIN_RESET);

  /*Configure GPIO pin Output Level */
  HAL_GPIO_WritePin(GPIOD, NRF_CSN_Pin|NRF_CE_Pin|LD4_Pin|LD3_Pin
                          |LD5_Pin|LD6_Pin|CE1_SPI5_Pin|CSN1_SPI5_Pin
                          |Audio_RST_Pin, GPIO_PIN_RESET);

  /*Configure GPIO pins : PE2 PE4 PE1 */
  GPIO_InitStruct.Pin = GPIO_PIN_2|GPIO_PIN_4|GPIO_PIN_1;
  GPIO_InitStruct.Mode = GPIO_MODE_IT_RISING;
  GPIO_InitStruct.Pull = GPIO_NOPULL;
  HAL_GPIO_Init(GPIOE, &GPIO_InitStruct);

  /*Configure GPIO pin : CS_SPI1_Pin */
  GPIO_InitStruct.Pin = CS_SPI1_Pin;
  GPIO_InitStruct.Mode = GPIO_MODE_OUTPUT_PP;
  GPIO_InitStruct.Pull = GPIO_NOPULL;
  GPIO_InitStruct.Speed = GPIO_SPEED_FREQ_HIGH;
  HAL_GPIO_Init(CS_SPI1_GPIO_Port, &GPIO_InitStruct);

  /*Configure GPIO pin : OTG_FS_PowerSwitchOn_Pin */
  GPIO_InitStruct.Pin = OTG_FS_PowerSwitchOn_Pin;
  GPIO_InitStruct.Mode = GPIO_MODE_OUTPUT_PP;
  GPIO_InitStruct.Pull = GPIO_NOPULL;
  GPIO_InitStruct.Speed = GPIO_SPEED_FREQ_LOW;
  HAL_GPIO_Init(OTG_FS_PowerSwitchOn_GPIO_Port, &GPIO_InitStruct);

  /*Configure GPIO pin : PDM_OUT_Pin */
  GPIO_InitStruct.Pin = PDM_OUT_Pin;
  GPIO_InitStruct.Mode = GPIO_MODE_AF_PP;
  GPIO_InitStruct.Pull = GPIO_NOPULL;
  GPIO_InitStruct.Speed = GPIO_SPEED_FREQ_LOW;
  GPIO_InitStruct.Alternate = GPIO_AF5_SPI2;
  HAL_GPIO_Init(PDM_OUT_GPIO_Port, &GPIO_InitStruct);

  /*Configure GPIO pin : PA0 */
  GPIO_InitStruct.Pin = GPIO_PIN_0;
  GPIO_InitStruct.Mode = GPIO_MODE_INPUT;
  GPIO_InitStruct.Pull = GPIO_NOPULL;
  HAL_GPIO_Init(GPIOA, &GPIO_InitStruct);

  /*Configure GPIO pin : I2S3_WS_Pin */
  GPIO_InitStruct.Pin = I2S3_WS_Pin;
  GPIO_InitStruct.Mode = GPIO_MODE_AF_PP;
  GPIO_InitStruct.Pull = GPIO_NOPULL;
  GPIO_InitStruct.Speed = GPIO_SPEED_FREQ_LOW;
  GPIO_InitStruct.Alternate = GPIO_AF6_SPI3;
  HAL_GPIO_Init(I2S3_WS_GPIO_Port, &GPIO_InitStruct);

  /*Configure GPIO pin : PC5 */
  GPIO_InitStruct.Pin = GPIO_PIN_5;
  GPIO_InitStruct.Mode = GPIO_MODE_IT_FALLING;
  GPIO_InitStruct.Pull = GPIO_NOPULL;
  HAL_GPIO_Init(GPIOC, &GPIO_InitStruct);

  /*Configure GPIO pin : PB2 */
  GPIO_InitStruct.Pin = GPIO_PIN_2;
  GPIO_InitStruct.Mode = GPIO_MODE_OUTPUT_PP;
  GPIO_InitStruct.Pull = GPIO_NOPULL;
  GPIO_InitStruct.Speed = GPIO_SPEED_FREQ_LOW;
  HAL_GPIO_Init(GPIOB, &GPIO_InitStruct);

  /*Configure GPIO pins : mf_lf_Pin mb_lf_Pin PE9 mb_rb_Pin
                           PE11 mf_rb_Pin PE13 mb_lb_Pin */
  GPIO_InitStruct.Pin = mf_lf_Pin|mb_lf_Pin|GPIO_PIN_9|mb_rb_Pin
                          |GPIO_PIN_11|mf_rb_Pin|GPIO_PIN_13|mb_lb_Pin;
  GPIO_InitStruct.Mode = GPIO_MODE_OUTPUT_PP;
  GPIO_InitStruct.Pull = GPIO_NOPULL;
  GPIO_InitStruct.Speed = GPIO_SPEED_FREQ_LOW;
  HAL_GPIO_Init(GPIOE, &GPIO_InitStruct);

  /*Configure GPIO pins : CLK_IN_Pin PB12 */
  GPIO_InitStruct.Pin = CLK_IN_Pin|GPIO_PIN_12;
  GPIO_InitStruct.Mode = GPIO_MODE_AF_PP;
  GPIO_InitStruct.Pull = GPIO_NOPULL;
  GPIO_InitStruct.Speed = GPIO_SPEED_FREQ_LOW;
  GPIO_InitStruct.Alternate = GPIO_AF5_SPI2;
  HAL_GPIO_Init(GPIOB, &GPIO_InitStruct);

  /*Configure GPIO pin : NRF_IRQ_Pin */
  GPIO_InitStruct.Pin = NRF_IRQ_Pin;
  GPIO_InitStruct.Mode = GPIO_MODE_IT_FALLING;
  GPIO_InitStruct.Pull = GPIO_NOPULL;
  HAL_GPIO_Init(NRF_IRQ_GPIO_Port, &GPIO_InitStruct);

  /*Configure GPIO pins : NRF_CSN_Pin NRF_CE_Pin LD4_Pin LD3_Pin
                           LD5_Pin LD6_Pin CE1_SPI5_Pin CSN1_SPI5_Pin
                           Audio_RST_Pin */
  GPIO_InitStruct.Pin = NRF_CSN_Pin|NRF_CE_Pin|LD4_Pin|LD3_Pin
                          |LD5_Pin|LD6_Pin|CE1_SPI5_Pin|CSN1_SPI5_Pin
                          |Audio_RST_Pin;
  GPIO_InitStruct.Mode = GPIO_MODE_OUTPUT_PP;
  GPIO_InitStruct.Pull = GPIO_NOPULL;
  GPIO_InitStruct.Speed = GPIO_SPEED_FREQ_LOW;
  HAL_GPIO_Init(GPIOD, &GPIO_InitStruct);

  /*Configure GPIO pins : I2S3_MCK_Pin I2S3_SCK_Pin I2S3_SD_Pin */
  GPIO_InitStruct.Pin = I2S3_MCK_Pin|I2S3_SCK_Pin|I2S3_SD_Pin;
  GPIO_InitStruct.Mode = GPIO_MODE_AF_PP;
  GPIO_InitStruct.Pull = GPIO_NOPULL;
  GPIO_InitStruct.Speed = GPIO_SPEED_FREQ_LOW;
  GPIO_InitStruct.Alternate = GPIO_AF6_SPI3;
  HAL_GPIO_Init(GPIOC, &GPIO_InitStruct);

  /*Configure GPIO pin : PA15 */
  GPIO_InitStruct.Pin = GPIO_PIN_15;
  GPIO_InitStruct.Mode = GPIO_MODE_IT_RISING;
  GPIO_InitStruct.Pull = GPIO_NOPULL;
  HAL_GPIO_Init(GPIOA, &GPIO_InitStruct);

  /*Configure GPIO pin : PC11 */
  GPIO_InitStruct.Pin = GPIO_PIN_11;
  GPIO_InitStruct.Mode = GPIO_MODE_INPUT;
  GPIO_InitStruct.Pull = GPIO_NOPULL;
  HAL_GPIO_Init(GPIOC, &GPIO_InitStruct);

  /*Configure GPIO pins : PD2 PD5 PD6 */
  GPIO_InitStruct.Pin = GPIO_PIN_2|GPIO_PIN_5|GPIO_PIN_6;
  GPIO_InitStruct.Mode = GPIO_MODE_INPUT;
  GPIO_InitStruct.Pull = GPIO_NOPULL;
  HAL_GPIO_Init(GPIOD, &GPIO_InitStruct);

  /*Configure GPIO pins : PD3 PD7 */
  GPIO_InitStruct.Pin = GPIO_PIN_3|GPIO_PIN_7;
  GPIO_InitStruct.Mode = GPIO_MODE_IT_RISING;
  GPIO_InitStruct.Pull = GPIO_NOPULL;
  HAL_GPIO_Init(GPIOD, &GPIO_InitStruct);

  /*Configure GPIO pin : PB8 */
  GPIO_InitStruct.Pin = GPIO_PIN_8;
  GPIO_InitStruct.Mode = GPIO_MODE_IT_RISING;
  GPIO_InitStruct.Pull = GPIO_NOPULL;
  HAL_GPIO_Init(GPIOB, &GPIO_InitStruct);

  /* EXTI interrupt init*/
  HAL_NVIC_SetPriority(EXTI1_IRQn, 5, 0);
  HAL_NVIC_EnableIRQ(EXTI1_IRQn);

  HAL_NVIC_SetPriority(EXTI2_IRQn, 5, 0);
  HAL_NVIC_EnableIRQ(EXTI2_IRQn);

  HAL_NVIC_SetPriority(EXTI3_IRQn, 5, 0);
  HAL_NVIC_EnableIRQ(EXTI3_IRQn);

  HAL_NVIC_SetPriority(EXTI4_IRQn, 5, 0);
  HAL_NVIC_EnableIRQ(EXTI4_IRQn);

  HAL_NVIC_SetPriority(EXTI9_5_IRQn, 5, 0);
  HAL_NVIC_EnableIRQ(EXTI9_5_IRQn);

  HAL_NVIC_SetPriority(EXTI15_10_IRQn, 5, 0);
  HAL_NVIC_EnableIRQ(EXTI15_10_IRQn);

}

/* USER CODE BEGIN 4 */
void HAL_GPIO_EXTI_Callback(uint16_t GPIO_Pin)
{
	//kateri pin je poklical EXIT event
	if(GPIO_Pin == GPIO_PIN_14){
		nRF24_dataReady = 1; //spremenil se je status register pejt pogledat kaj se je zgodilo
	}
	else if(GPIO_Pin == GPIO_PIN_15){
		if(HAL_GPIO_ReadPin(GPIOD,GPIO_PIN_2)){motorLF.poz--;}
		else{motorLF.poz++;}
	}
	else if(GPIO_Pin == GPIO_PIN_7){
		if(HAL_GPIO_ReadPin(GPIOD,GPIO_PIN_5)){motorRF.poz--;}
		else{motorRF.poz++;}
	}
	else if(GPIO_Pin == GPIO_PIN_3){
		if(HAL_GPIO_ReadPin(GPIOC,GPIO_PIN_11)){motorRB.poz--;}
		else{motorRB.poz++;}
	}
	else if(GPIO_Pin == GPIO_PIN_8){
		if(HAL_GPIO_ReadPin(GPIOD,GPIO_PIN_6)){motorLB.poz--;}
		else{motorLB.poz++;}
	}
	else if(GPIO_Pin == GPIO_PIN_1){ //vsakic ko dobis interupt posodobi podatke
		spi1_beriRegistre(0x28, (uint8_t*)&Gyro, 6);
		GyroReady = 1; //zastavica da so na voljo novi podatki 200Hz
	}
	else if(GPIO_Pin == GPIO_PIN_4){
		//data ready pospeskometer
		i2c1_beriRegistre(0x19, 0x28,(uint8_t*)&Acc, 6);
		AccReady = 1; //200Hz
	}
	else if(GPIO_Pin == GPIO_PIN_2){
		//data ready megnetometer
		i2c1_beriRegistre(0x1e, 0x68,(uint8_t*)&Mag, 6);
		MagReady = 1; //100Hz
	}
	else if(GPIO_Pin == GPIO_PIN_5 && activateRasbetyPI){
		HAL_GPIO_TogglePin(GPIOD, GPIO_PIN_13); //oranzna
		HAL_I2C_Slave_Receive(&hi2c3, I2CRxData, 8, 100);
		HAL_I2C_Slave_Transmit(&hi2c3, I2CTxData, 48,100);
		//P.head = 0xAAAB;
		//CDC_Transmit_FS((uint8_t*)&P,(sizeof(float)*12)+4);

		//HAL_I2C_Slave_Transmit(&hi2c3, I2CTxData, I2C_BUFFER_SIZE, 100);
		//Rasbery pi zahteva podatke in posilja ukaze
		//HAL_SPI_TransmitReceive_IT(&hspi5, SpiTxData, SpiRxData, SPI_BUFFER_SIZE);
		//HAL_SPI_TransmitReceive(&hspi5, SpiTxData, SpiRxData, SPI_BUFFER_SIZE, 10);
		//HAL_SPI_Transmit(&hspi5, SpiTxData, SPI_BUFFER_SIZE, 200);

	}

}
void HAL_I2C_SlaveRxCpltCallback(I2C_HandleTypeDef *hi2c){
	HAL_GPIO_TogglePin(GPIOD, GPIO_PIN_12);
}

//void HAL_SPI_TxRxCpltCallback(SPI_HandleTypeDef *hspi){
	//HAL_GPIO_WritePin(GPIOD, GPIO_PIN_14, 1);
	//HAL_GPIO_TogglePin(GPIOD, GPIO_PIN_13); //oranzna
	//HAL_SPI_Receive_DMA(&hspi5, (uint8_t*)&rasberyReq, rasberyReqSize);
	//..rasberyReq = *(struct recivedRasberyPiPayload*)SpiRxData;
	//if( SpiRxData[0] == 22){
	//	SPIcommandRecived = 1;
	//	//HAL_SPI_Transmit(&hspi5, (uint8_t*)&P, 28, 100);
	//}

//}
/* USER CODE END 4 */

void StartCalculatingPoz(void *argument)
{
  /* init code for USB_DEVICE */
  MX_USB_DEVICE_Init();
  /* USER CODE BEGIN 5 */
  /* Infinite loop */
  for(;;){
	  if(MagReady){
		  MagF.x = izracunajPovprecjeInt16(&MagX,Mag.x,10);
		  MagF.y = izracunajPovprecjeInt16(&MagY,Mag.y,10);
		  MagF.z = izracunajPovprecjeInt16(&MagZ,Mag.z,10);
		  MagReady = 0;

		  P.head = 0xAAAB;
		  CDC_Transmit_FS((uint8_t*)&P,(sizeof(float)*12)+4);
	  }
	  if(AccReady){
		  Acc.x -= E.Accx;
		  Acc.y -= E.Accy;
		  AccF.x = izracunajPovprecjeInt16(&AccX,Acc.x,50);
		  AccF.y = izracunajPovprecjeInt16(&AccY,Acc.y,50);
		  AccF.z = izracunajPovprecjeInt16(&AccZ,Acc.z,50);
		  AccReady = 0;
	  }
	  if(GyroReady){
		  Gyro.x -= E.Gyrox;
		  Gyro.y -= E.Gyroy;
		  Gyro.z -= E.Gyroz;
		  GyroF.x = izracunajPovprecjeInt16(&GyroX,Gyro.x,50);
		  GyroF.y = izracunajPovprecjeInt16(&GyroY,Gyro.y,50);
		  GyroF.z = izracunajPovprecjeInt16(&GyroZ,Gyro.z,50);
		  GyroReady = 0;

		  //poracunamo podatke
		  float gx,gy,gz,ax,ay,az,mx,my,mz;

		  if(AccF.x == 0 && AccF.y == 0 && AccF.z==0){ax=0.0f; ay=0.0f; az=1.0f;}
		  else{
			  ax = ((float)AccF.x) *-0.0006103515f;
			  ay = ((float)AccF.y) *0.0006103515f;
			  az = ((float)AccF.z) *0.0006103515f;//+-2g  2/(2^16/2)
			  normalize_v3f(&ax,&ay,&az);
		  }

		  gx = ((float)GyroF.x) * 0.0175f * DEG_TO_RAD*2; //deg/s obcutljivost 500dps
		  gy = ((float)GyroF.y) * 0.0175f * DEG_TO_RAD*2;
		  gz = ((float)GyroF.z) * 0.0175f * DEG_TO_RAD*2;

		  if(MagF.x == 0 && MagF.y == 0 && MagF.z==0){mx = 0.2f; my = 0.2f; mz = 0.1f;}
		  else{
			  mx = ((float)MagF.x) * 0.0015f; //magnetic sesnetivity 1.5 mgauss/LSB
			  my = ((float)MagF.y) * 0.0015f;
			  mz = ((float)MagF.z) * 0.0015f;
		  }
		  normalize_v3f(&mx,&my,&mz);

		  MadgwickAHRSupdate(gx,gy,gz,ax,ay,az,0,0,0);
		  P.heading = atan2(2*(q0*q3+q1*q2),1-2*(q2*q2+q3*q3));
		  P.roll = atan2(2*(q0*q1+q2*q3),1-2*(q1*q1+q2*q2));
		  P.pitch = asin(2*(q0*q2 - q3*q1));
		  P.Q0 = q0; P.Q1 = q1; P.Q2 = q2; P.Q3 = q3;

		  //rotiraj po X za roll
		  ay = ay*cos(-P.roll)-az*sin(P.roll);
		  az = ay*sin(-P.roll)+az*cos(P.roll);
		  //rotiraj vektor okoli Y za pitch
		  ax = ax*cos(-P.pitch)-az*sin(-P.pitch);
		  az = -ax*sin(-P.pitch)+az*cos(-P.pitch);

		  //pretvorimo v globalni kordinatni sistem
		  /*
		  if(ax > 0.0005 || ay > 0.0005){
			  P.pozX = Xold + 0.5*ax*0.025;
			  P.pozY = Yold + 0.5*ay*0.025;
			  Xold = P.pozX;
			  Yold = P.pozY;
		  }
		  */

		  P.magX = ax;
		  P.magY = ay;
		  P.magZ = az;

		  for(int n=4; n<52; n++){ //pripravi podatke za spi
			  I2CTxData[n-4] = ((uint8_t*)&P)[n];
		  }

	  }

	  osDelay(1);
  }
  /* USER CODE END 5 */
}

void StartRecivingCommandsNRF24(void *argument)
{
  /* USER CODE BEGIN StartRecivingCommandsNRF24 */
  /* Infinite loop */
  for(;;)
  {
	  if(nRF24_dataReady && nRF24_status){
		  uint8_t status = nRF24_GetStatus();
		  nRF24_ClearIRQFlags();
		  nRF24_dataReady = 0;
		  if (status != nRF24_STATUS_RXFIFO_EMPTY) {
			  //HAL_GPIO_TogglePin(GPIOD, GPIO_PIN_15);

			  pipe = nRF24_ReadPayload((uint8_t*)(&robotPay), &payload_length);
			  nRF24_ClearIRQFlags();

			  uint8_t CRC_calc = (robotPay.x1 + robotPay.y1 + robotPay.x2 + robotPay.y2 + robotPay.speed);
			  if(robotPay.crc == CRC_calc){
				  //uporabi podatke
				  HAL_GPIO_WritePin(GPIOD, GPIO_PIN_15, 1);

				  timeSinceLastCommand = HAL_GetTick();
				  float speed = SPEEDMOD*(float)robotPay.speed/255;
				  motorRF.targetVel = speed*(float)(robotPay.y1-robotPay.x1+robotPay.x2)/128;
				  motorLF.targetVel = speed*(float)(robotPay.y1+robotPay.x1-robotPay.x2)/128;
				  motorLB.targetVel = speed*(float)(robotPay.y1+robotPay.x1+robotPay.x2)/128;
				  motorRB.targetVel = speed*(float)(robotPay.y1-robotPay.x1-robotPay.x2)/128;
				  /*
				  motorRF.targetVel = speed*(float)(robotPay.y1)/128;
				  motorLF.targetVel = speed*(float)(robotPay.x1)/128;
				  motorRB.targetVel = speed*(float)(robotPay.y2)/128;
				  motorLB.targetVel = speed*(float)(robotPay.x2)/128;
				  */
			  }
		  }
	  }
	  osDelay(50);
  }
  /* USER CODE END StartRecivingCommandsNRF24 */
}

void StartMotorControl(void *argument)
{
  /* USER CODE BEGIN StartMotorControl */
  /* Infinite loop */
  for(;;)
  {
	  if((HAL_GetTick() - timeSinceLastCommand)>200){
		  HAL_GPIO_WritePin(GPIOD, GPIO_PIN_15, 0);
		  nastaviMotor(RF,0); motorRF.integralError = 0; motorRF.targetVel = 0;
		  nastaviMotor(LF,0); motorLF.integralError = 0; motorLF.targetVel = 0;
		  nastaviMotor(LB,0); motorLB.integralError = 0; motorLB.targetVel = 0;
		  nastaviMotor(RB,0); motorRB.integralError = 0; motorRB.targetVel = 0;
	  }
	  speedControl(&motorLB,0.01);
	  speedControl(&motorLF,0.01);
	  speedControl(&motorRB,0.01);
	  speedControl(&motorRF,0.01);
	  osDelay(10);
  }
  /* USER CODE END StartMotorControl */
}

void StartCalculatingPath(void *argument)
{
  /* USER CODE BEGIN StartCalculatingPath */
  /* Infinite loop */
  for(;;)
  {

	  int32_t sum = (motorRF.poz - motorRFprevPoz)+(motorLF.poz - motorLFprevPoz)+(motorLB.poz - motorLBprevPoz);
	  float pot = (float)(sum)/3;
	  pot *= PI*0.003f;
	  motorRFprevPoz = motorRF.poz;
	  motorRBprevPoz = motorRB.poz;
	  motorLFprevPoz = motorLF.poz;
	  motorLBprevPoz = motorLB.poz;
	  P.pozX += cos(P.heading) * pot;
	  P.pozY -= sin(P.heading) * pot;
	  osDelay(100);
  }
  /* USER CODE END StartCalculatingPath */
}

void HAL_TIM_PeriodElapsedCallback(TIM_HandleTypeDef *htim)
{
  if (htim->Instance == TIM11) {
    HAL_IncTick();
  }
}

void Error_Handler(void)
{
  /* USER CODE BEGIN Error_Handler_Debug */
  /* User can add his own implementation to report the HAL error return state */
  __disable_irq();
  HAL_GPIO_WritePin(GPIOD, GPIO_PIN_15, 0);
  HAL_GPIO_WritePin(GPIOD, GPIO_PIN_13, 1);
  nastaviMotor(RF,0); motorRF.integralError = 0;
  nastaviMotor(LF,0); motorLF.integralError = 0;
  nastaviMotor(LB,0); motorLB.integralError = 0;
  nastaviMotor(RB,0); motorRB.integralError = 0;
  while (1)
  {
  }
  /* USER CODE END Error_Handler_Debug */
}

/************************ (C) COPYRIGHT STMicroelectronics *****END OF FILE****/
